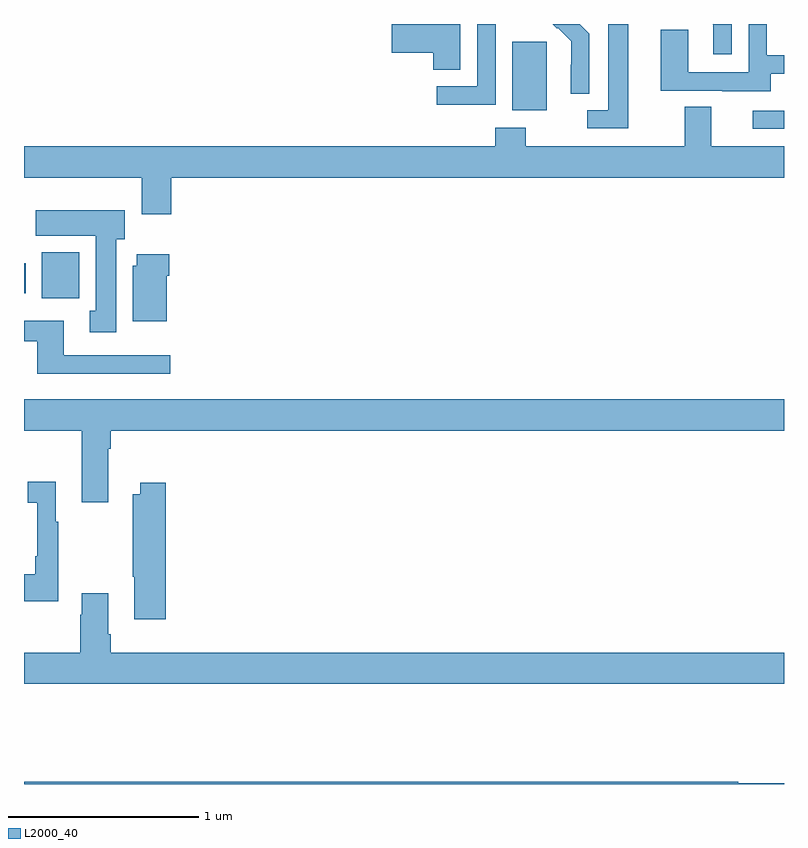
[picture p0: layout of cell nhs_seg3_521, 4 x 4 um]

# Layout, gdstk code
import gdstk
lib = gdstk.Library(unit=1e-6, precision=1e-09)
def R(c, l, rs):  # rectangles x0, y0, x1, y1
    for r in rs: c.add(gdstk.rectangle(r[:2], r[2:], *l))
def P(c, l, *ps):  # polygons
    for p in ps: c.add(gdstk.Polygon(p, *l))
L2000_40 = (2000, 40)

nhs_seg3_521 = lib.new_cell('nhs_seg3_521')
R(nhs_seg3_521, L2000_40, [(137.093,690.956,137.29,691.198), (137,690.984,137.008,691.14), (140.835,691.848,141,691.944), (139.571,691.946,139.75,692.307)])
P(nhs_seg3_521, L2000_40, [(140.929,692.139),(141,692.139),(141,692.235),(140.91,692.235),(140.91,692.4),(140.814,692.4),(140.814,692.145),(140.496,692.145),(140.496,692.369),(140.351,692.369),(140.351,692.049),(140.675,692.049),(140.675,692.045),(140.929,692.045)],
  [(139.297,692.4),(138.936,692.4),(138.936,692.249),(139.154,692.249),(139.154,692.158),(139.297,692.158)],
  [(140.179,692.4),(140.075,692.4),(140.075,691.947),(139.965,691.947),(139.965,691.851),(140.179,691.851)],
  [(140.724,692.4),(140.624,692.4),(140.627,692.397),(140.627,692.241),(140.724,692.241)],
  [(139.482,692.4),(139.386,692.4),(139.386,692.073),(139.173,692.073),(139.173,691.975),(139.482,691.975)],
  [(139.974,692.35),(139.924,692.4),(139.782,692.4),(139.806,692.376),(139.809,692.379),(139.88,692.309),(139.88,692.186),(139.878,692.186),(139.878,692.032),(139.974,692.032)],
  [(137.774,691.592),(141,691.592),(141,691.756),(140.617,691.756),(140.617,691.964),(140.477,691.964),(140.477,691.756),(139.641,691.756),(139.641,691.855),(139.481,691.855),(139.481,691.756),(137,691.756),(137,691.592),(137.621,691.592),(137.621,691.398),(137.774,691.398)],
  [(137.485,691.266),(137.53,691.266),(137.53,691.42),(137.061,691.42),(137.061,691.286),(137.378,691.286),(137.378,690.89),(137.345,690.89),(137.345,690.777),(137.485,690.777)],
  [(137.752,691.076),(137.765,691.076),(137.765,691.189),(137.594,691.189),(137.594,691.128),(137.573,691.128),(137.573,690.836),(137.752,690.836)],
  [(137.77,690.657),(137.209,690.657),(137.209,690.838),(137,690.838),(137,690.729),(137.069,690.729),(137.069,690.56),(137.77,690.56)],
  [(137.443,690.164),(137.456,690.164),(137.456,690.26),(141,690.26),(141,690.424),(137,690.424),(137,690.26),(137.303,690.26),(137.303,689.883),(137.443,689.883)],
  [(137.179,689.779),(137.167,689.779),(137.167,689.992),(137.019,689.992),(137.019,689.879),(137.07,689.879),(137.07,689.599),(137.058,689.599),(137.058,689.503),(137,689.503),(137,689.363),(137.179,689.363)],
  [(137.747,689.986),(137.612,689.986),(137.612,689.926),(137.572,689.926),(137.572,689.491),(137.579,689.491),(137.579,689.268),(137.747,689.268)],
  [(141,689.092),(137.456,689.092),(137.456,689.188),(137.443,689.188),(137.443,689.404),(137.303,689.404),(137.303,689.291),(137.296,689.291),(137.296,689.092),(137,689.092),(137,688.928),(141,688.928)],
  [(141,688.405),(140.758,688.405),(140.758,688.412),(137,688.412),(137,688.4),(141,688.4)])

lib.write_gds('nhs_seg3_521.gds')
